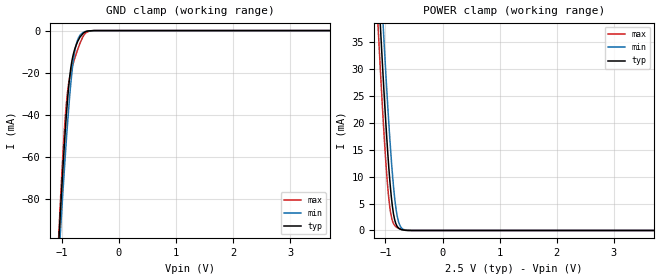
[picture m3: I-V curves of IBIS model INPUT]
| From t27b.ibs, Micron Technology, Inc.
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|   MODEL INPUT
[Model]   INPUT
Model_type   Input
Vinl = 940.0mV
Vinh = 1.560V
|   typ   min   max
C_comp   1.44pF   1.08pF   1.74pF
[Model Spec]
| Input threshold voltage corners
Vinh   1.560V   1.460V   1.660V
Vinl   0.940V   0.840V   1.040V
[Voltage Range]   2.500V   2.300V   2.700V
| Junction Temperature (Ambient temp is 25C typ, 70C min, 0C max)
[Temperature Range]   40.0   85.0   0.0
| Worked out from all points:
|   GND clamp passes 1 mA (typ) near -0.61 V on its own axis
|   POWER clamp passes 1 mA (typ) near -0.81 V on its own axis
[GND Clamp]
|   Voltage   I(typ)   I(min)   I(max)
-2.5V     -921.4mA   -832.6mA   -1.047A
-1.08V    -115.4mA   NA         NA
-1.04V    -95.05mA   NA         NA
-1.01V    -80.34mA   -90.45mA   -74.52mA
-950mV    -53.02mA   -64.76mA   -46.2mA
-900mV    -33.74mA   NA         -29.82mA
-860mV    -22.05mA   NA         NA
-800mV    -11.67mA   NA         NA
-760mV    -7.889mA   NA         NA
-620mV    -1.16mA    NA         NA
-440mV    0A         NA         NA
5V        0A         0A         0A
[POWER Clamp]
|   Voltage   I(typ)   I(min)   I(max)
-2.5V     363.4mA    370.9mA    357.6mA
-1.13V    46.49mA    NA         38.18mA
-1.08V    36.3mA     NA         NA
-1.05V    30.43mA    40.07mA    22.44mA
-1.03V    26.64mA    36.16mA    18.83mA
-980mV    17.75mA    NA         10.78mA
-920mV    8.856mA    NA         4.069mA
-880mV    4.625mA    NA         NA
-840mV    2.068mA    NA         NA
-760mV    363.5uA    NA         NA
-530mV    0A         0A         0A
5V        0A         0A         0A
